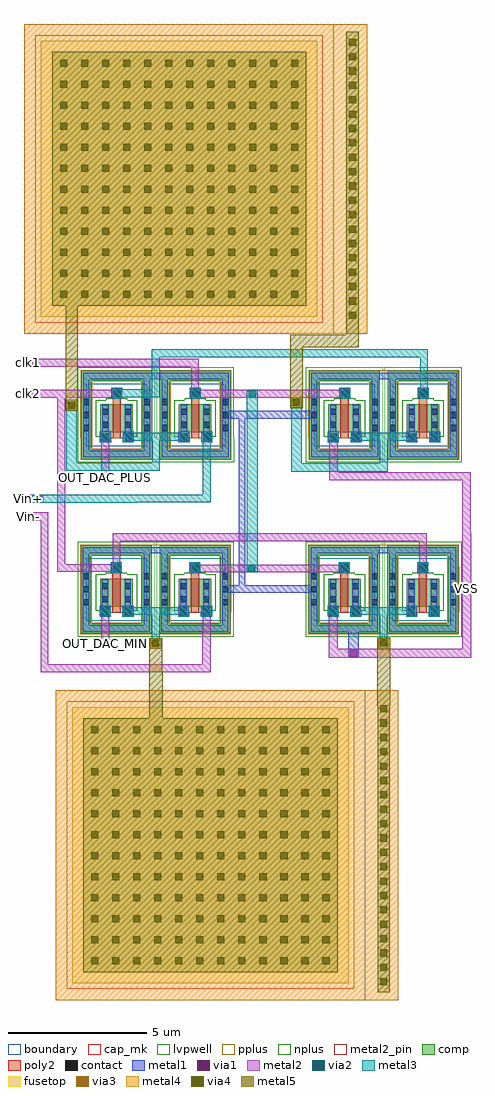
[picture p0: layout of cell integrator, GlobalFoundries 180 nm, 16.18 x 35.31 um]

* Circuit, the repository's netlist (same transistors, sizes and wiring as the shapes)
* NGSPICE file created from integrator.ext - technology: gf180mcuD

.subckt nfet_03v3_7X6UHZ a_30_n124# a_n256_n319# a_n118_n124# a_n36_116#
X0 a_30_n124# a_n36_116# a_n118_n124# a_n256_n319# nfet_03v3 ad=0.44p pd=2.88u as=0.44p ps=2.88u w=1u l=0.3u
.ends

.subckt cap_mim_2p0fF_5GVGCQ m4_n1120_n1000# m4_n1240_n1120#
X0 m4_n1120_n1000# m4_n1240_n1120# cap_mim_2f0_m4m5_noshield c_width=10u c_length=10u
.ends

.subckt integrator Vin+ Vin- clk1 clk2
XXM1 m3_n146_n176# VSS OUT_DAC_PLUS clk2 nfet_03v3_7X6UHZ
XXM2 m3_1482_n185# VSS VSS clk1 nfet_03v3_7X6UHZ
XXM3 Vin+ VSS m3_n146_n176# clk1 nfet_03v3_7X6UHZ
XXM4 XM4/a_30_n124# VSS m3_1482_n185# clk2 nfet_03v3_7X6UHZ
XXM5 m3_331_n1220# VSS OUT_DAC_MIN clk2 nfet_03v3_7X6UHZ
XXM6 m3_1979_n1220# VSS VSS clk1 nfet_03v3_7X6UHZ
XC1 m3_n146_n176# m3_1482_n185# cap_mim_2p0fF_5GVGCQ
XXM7 Vin- VSS m3_331_n1220# clk1 nfet_03v3_7X6UHZ
XXM8 XM8/a_30_n124# VSS m3_1979_n1220# clk2 nfet_03v3_7X6UHZ
XC3 m3_331_n1220# m3_1979_n1220# cap_mim_2p0fF_5GVGCQ
.ends

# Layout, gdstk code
import gdstk
lib = gdstk.Library(unit=1e-6, precision=1e-09)
def R(c, l, rs):  # rectangles x0, y0, x1, y1
    for r in rs: c.add(gdstk.rectangle(r[:2], r[2:], *l))
def A(c, l, x, y, w, h, nx, ny, dx, dy):  # array of equal rectangles
    R(c, l, [(x+i*dx, y+j*dy, x+i*dx+w, y+j*dy+h) for i in range(nx) for j in range(ny)])
boundary = (0, 0)
comp = (22, 0)
poly2 = (30, 0)
pplus = (31, 0)
nplus = (32, 0)
contact = (33, 0)
metal1 = (34, 0)
via1 = (35, 0)
metal2 = (36, 0)
metal2_pin = (36, 10)
via2 = (38, 0)
via3 = (40, 0)
via4 = (41, 0)
metal3 = (42, 0)
metal4 = (46, 0)
fusetop = (75, 0)
metal5 = (81, 0)
cap_mk = (117, 5)
lvpwell = (204, 0)

cap_mim_2p0ff_5gvgcq = lib.new_cell('cap_mim_2p0fF_5GVGCQ')
R(cap_mim_2p0ff_5gvgcq, boundary, [(-6.2,-5.6,5,5.6)])
A(cap_mim_2p0ff_5gvgcq, via4, 5.54, -5.07, 0.26, 0.26, 1, 20, 0, 0.52)
A(cap_mim_2p0ff_5gvgcq, via4, -4.91, -4.31, 0.26, 0.26, 12, 12, 0.76, 0.76)
R(cap_mim_2p0ff_5gvgcq, metal4, [(-6.2,-5.6,6.2,5.6)])
R(cap_mim_2p0ff_5gvgcq, fusetop, [(-5.6,-5,4.4,5)])
R(cap_mim_2p0ff_5gvgcq, metal5, [(5.45,-5.315,5.89,5.315), (-5.2,-4.6,4,4.6)])
R(cap_mim_2p0ff_5gvgcq, cap_mk, [(-5.8,-5.2,4.6,5.2)])

nfet_03v3_7x6uhz = lib.new_cell('nfet_03v3_7X6UHZ')
R(nfet_03v3_7x6uhz, boundary, [(-1.1,-1.13,1.1,1.13)])
R(nfet_03v3_7x6uhz, comp, [(-1.28,-1.595,1.28,-1.235), (-1.28,-1.235,-0.92,1.235), (0.92,-1.235,1.28,1.235), (-0.59,-0.62,0.59,0.38), (-1.28,1.235,1.28,1.595)])
R(nfet_03v3_7x6uhz, poly2, [(-0.15,-0.84,0.15,0.58), (-0.18,0.58,0.18,0.94)])
R(nfet_03v3_7x6uhz, pplus, [(-1.3,-1.615,1.3,-1.215), (-1.3,-1.215,-0.89,-0.825), (0.89,-1.215,1.3,-0.825), (-1.31,-0.825,-0.89,0.825), (0.89,-0.825,1.31,0.825), (-1.3,0.825,-0.89,1.215), (0.89,0.825,1.3,1.215), (-1.3,1.215,1.3,1.615)])
R(nfet_03v3_7x6uhz, nplus, [(-0.38,-0.85,0.38,-0.78), (-0.75,-0.78,0.75,0.54), (-0.38,0.54,0.38,0.61)])
A(nfet_03v3_7x6uhz, contact, -1.21, -0.58, 0.22, 0.22, 1, 3, 0, 0.47)
A(nfet_03v3_7x6uhz, contact, 0.99, -0.58, 0.22, 0.22, 1, 3, 0, 0.47)
R(nfet_03v3_7x6uhz, contact, [(-0.52,-0.465,-0.3,-0.245), (0.3,-0.465,0.52,-0.245), (-0.52,0.005,-0.3,0.225), (0.3,0.005,0.52,0.225), (-0.11,0.65,0.11,0.87)])
R(nfet_03v3_7x6uhz, metal1, [(-1.215,-1.53,1.215,-1.3), (-1.215,-1.3,-0.985,1.3), (0.985,-1.3,1.215,1.3), (-0.6,-0.945,-0.22,-0.645), (0.225,-0.945,0.605,-0.645), (-0.525,-0.645,-0.295,0.37), (0.295,-0.645,0.525,0.37), (-0.2,0.58,0.2,0.98), (-1.215,1.3,1.215,1.53)])
R(nfet_03v3_7x6uhz, via1, [(-0.54,-0.925,-0.28,-0.665), (0.285,-0.92,0.545,-0.66), (-0.125,0.635,0.135,0.895)])
R(nfet_03v3_7x6uhz, metal2, [(-0.605,-0.985,-0.205,-0.585), (0.22,-0.985,0.62,-0.585), (-0.2,0.58,0.2,0.98)])
R(nfet_03v3_7x6uhz, via2, [(-0.53,-0.915,-0.27,-0.655), (0.295,-0.91,0.555,-0.65), (-0.105,0.655,0.155,0.915)])
R(nfet_03v3_7x6uhz, metal3, [(-0.605,-0.985,-0.205,-0.585), (0.22,-0.985,0.62,-0.585), (-0.2,0.58,0.2,0.98)])
R(nfet_03v3_7x6uhz, lvpwell, [(-1.4,-1.715,1.405,-0.85), (-1.4,-0.85,1.4,1.72)])

integrator = lib.new_cell('integrator')
R(integrator, pplus, [(2.39,-6.795,2.63,-6.005), (10.635,-6.795,10.875,-6.005), (2.4,-6.005,2.62,-4.355), (10.645,-6.005,10.865,-4.355), (2.39,-4.355,2.63,-3.565), (10.635,-4.355,10.875,-3.565), (2.4,-0.485,2.64,0.305), (10.645,-0.485,10.885,0.305), (2.41,0.305,2.63,1.955), (10.655,0.305,10.875,1.955), (2.4,1.955,2.64,2.745), (10.645,1.955,10.885,2.745)])
R(integrator, metal1, [(9.475,-7.65,9.865,-6.71), (9.215,-6.71,9.45,-6.495), (9.215,-6.495,9.44,-6.48), (5.145,-5.305,8.12,-5.025), (5.52,-5.025,5.76,0.995), (8.12,-4.345,8.125,-4.05), (2.075,-3.88,2.79,-3.65), (10.32,-3.88,11.035,-3.65), (5.155,0.995,8.13,1.275), (10.535,2.425,11.1,2.66), (2.085,2.43,2.755,2.66)])
R(integrator, via1, [(9.535,-7.625,9.795,-7.365)])
R(integrator, metal2, [(2.22,-8.18,3.075,-8.175), (-1.655,-8.175,4.51,-7.89), (-1.655,-7.89,-1.37,-2.68), (4.195,-7.89,4.51,-6.635), (8.775,-7.65,13.92,-7.33), (8.775,-7.33,9.09,-6.13), (13.61,-7.33,13.92,-3.155), (0.54,-7.245,0.835,-5.995), (4.205,-6.635,4.51,-6.13), (4.125,-4.565,9.135,-4.28), (-1.055,-4.55,1.245,-4.265), (-1.055,-4.265,-0.77,1.755), (0.955,-4.205,1.235,-3.43), (12.04,-4.2,12.32,-3.43), (0.955,-3.43,12.32,-3.15), (13.61,-3.155,13.915,-1.23), (0.955,-3.15,12.05,-3.145), (-2.24,-2.68,-1.37,-2.385), (-2.255,-2.04,-1.56,-1.755), (-2.255,-1.755,-1.87,-1.75), (8.785,-1.23,13.915,-0.94), (0.535,-1.225,0.835,-0.295), (8.79,-0.94,9.1,0.31), (0.54,-0.295,0.835,0.34), (4.065,1.75,9.165,2.025), (-2.24,1.755,1.225,2.04), (3.795,2.025,9.165,2.035), (3.795,2.035,4.075,2.875), (-2.225,2.875,4.075,3.16)])
R(integrator, metal2_pin, [(-2.225,-2.68,-1.94,-2.39), (-2.245,-2.04,-1.96,-1.755), (-2.24,1.755,-1.955,2.04), (-2.225,2.875,-1.94,3.16)])
R(integrator, via2, [(5.86,-4.55,6.12,-4.29), (-1.885,-2.03,-1.625,-1.77), (5.87,1.76,6.13,2.02)])
R(integrator, via3, [(2.375,-7.26,2.635,-7), (10.62,-7.245,10.88,-6.985), (-0.665,1.35,-0.405,1.61), (7.47,1.455,7.73,1.715)])
R(integrator, via4, [(2.375,-7.255,2.635,-6.995), (10.62,-7.245,10.88,-6.985), (-0.665,1.35,-0.405,1.61), (7.47,1.455,7.73,1.715)])
R(integrator, metal3, [(2.315,-7.33,2.71,-6.95), (10.555,-7.31,10.95,-6.925), (2.365,-6.95,2.655,-6.1), (10.615,-6.925,10.895,-6.1), (1.655,-6.1,3.395,-5.82), (9.895,-6.1,11.635,-5.82), (5.8,-4.565,6.2,2.035), (-1.955,-2.04,1.825,-2.035), (-1.955,-2.035,4.465,-2.03), (-1.955,-2.03,4.505,-1.75), (4.21,-1.75,4.505,-1.64), (4.21,-1.64,4.51,-1.4), (4.215,-1.4,4.51,0.475), (7.41,-0.925,10.905,-0.625), (-0.73,-0.88,2.66,-0.595), (7.41,-0.625,7.795,1.78), (10.625,-0.625,10.905,0.205), (-0.73,-0.595,-0.34,1.155), (2.38,-0.595,2.66,0.205), (1.645,0.205,3.415,0.485), (9.895,0.205,11.665,0.485), (-0.725,1.155,-0.34,1.675), (2.375,1.765,2.66,1.77), (1.165,1.77,2.66,2.055), (12.075,1.78,12.36,3.22), (2.375,2.055,2.66,3.225), (3.425,3.22,12.36,3.225), (2.375,3.225,12.36,3.505), (12.075,3.505,12.36,3.51)])
R(integrator, metal4, [(2.315,-7.33,2.71,-6.95), (10.555,-7.315,10.95,-6.925), (-0.725,1.29,-0.34,1.675), (7.415,1.4,7.795,1.78)])
R(integrator, metal5, [(2.27,-9.965,2.76,-8.155), (10.52,-9.385,11,-6.925), (2.275,-8.155,2.755,-6.95), (-0.75,1.28,-0.31,2.765), (7.38,1.38,7.825,3.585), (-0.75,2.765,-0.305,3.075), (-0.745,3.075,-0.305,3.61), (7.38,3.585,9.85,4.025), (-0.75,3.61,-0.305,5.075), (9.41,4.025,9.85,4.445), (-0.75,5.075,-0.31,5.405)])
integrator.add(gdstk.Reference(cap_mim_2p0ff_5gvgcq, (5.09,-14.435)))
integrator.add(gdstk.Reference(nfet_03v3_7x6uhz, (1.1,1.13)))
integrator.add(gdstk.Reference(nfet_03v3_7x6uhz, (9.345,1.13)))
integrator.add(gdstk.Reference(nfet_03v3_7x6uhz, (3.94,1.13)))
integrator.add(gdstk.Reference(nfet_03v3_7x6uhz, (12.185,1.13)))
integrator.add(gdstk.Reference(nfet_03v3_7x6uhz, (1.09,-5.18)))
integrator.add(gdstk.Reference(nfet_03v3_7x6uhz, (9.335,-5.18)))
integrator.add(gdstk.Reference(nfet_03v3_7x6uhz, (3.93,-5.18)))
integrator.add(gdstk.Reference(nfet_03v3_7x6uhz, (12.175,-5.18)))
integrator.add(gdstk.Reference(cap_mim_2p0ff_5gvgcq, (3.96,9.675)))
integrator.add(gdstk.Label('OUT_DAC_PLUS', (0.685,-1.117), layer=36, texttype=0))
integrator.add(gdstk.Label('OUT_DAC_MIN', (0.69,-7.135), layer=36, texttype=0))
integrator.add(gdstk.Label('VSS', (13.765,-5.162), layer=36, texttype=0))
integrator.add(gdstk.Label('Vin+', (-2.102,-1.897), layer=36, texttype=10))
integrator.add(gdstk.Label('Vin-', (-2.082,-2.535), layer=36, texttype=10))
integrator.add(gdstk.Label('clk1', (-2.082,3.017), layer=36, texttype=10))
integrator.add(gdstk.Label('clk2', (-2.097,1.897), layer=36, texttype=10))

lib.write_gds('integrator.gds')
